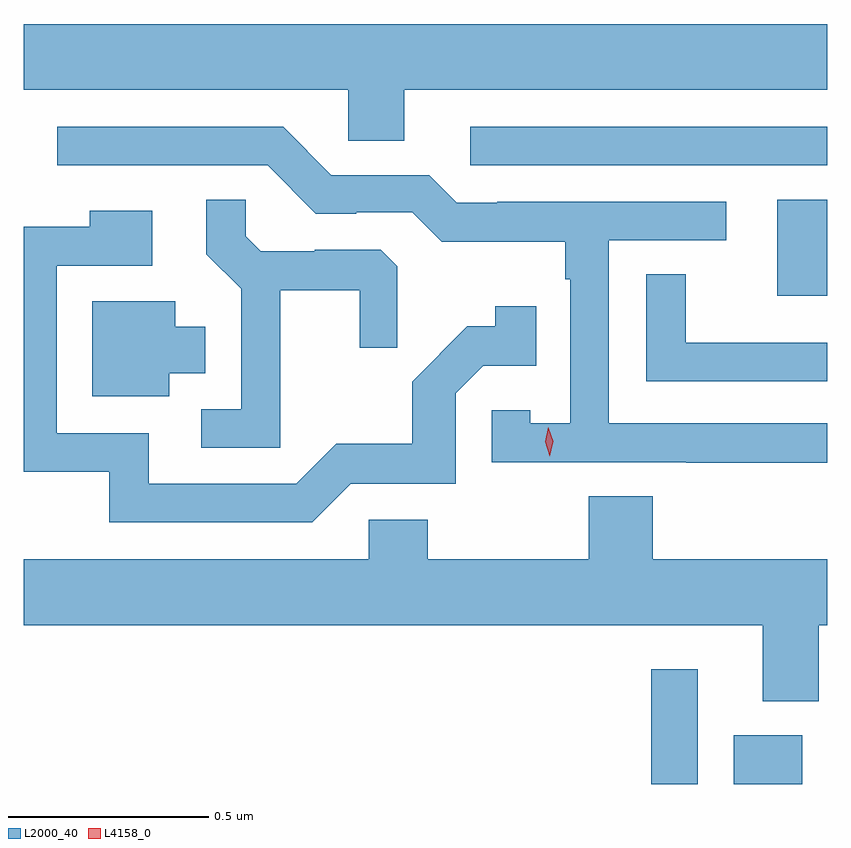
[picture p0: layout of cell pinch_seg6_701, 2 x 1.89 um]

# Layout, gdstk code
import gdstk
lib = gdstk.Library(unit=1e-6, precision=1e-09)
def R(c, l, rs):  # rectangles x0, y0, x1, y1
    for r in rs: c.add(gdstk.rectangle(r[:2], r[2:], *l))
def P(c, l, *ps):  # polygons
    for p in ps: c.add(gdstk.Polygon(p, *l))
L2000_40 = (2000, 40)
L4158_0 = (4158, 0)

pinch_seg6_701 = lib.new_cell('pinch_seg6_701')
R(pinch_seg6_701, L2000_40, [(491.05,946.941,491.166,947.227), (491.255,946.941,491.425,947.062), (491.363,948.156,491.488,948.395), (490.599,948.48,491.488,948.576)])
P(pinch_seg6_701, L2000_40, [(490.435,948.668),(491.488,948.668),(491.488,948.832),(489.488,948.832),(489.488,948.668),(490.296,948.668),(490.296,948.541),(490.435,948.541)],
  [(491.488,947.838),(490.944,947.838),(490.944,948.294),(491.236,948.294),(491.236,948.39),(490.666,948.39),(490.666,948.387),(490.566,948.387),(490.497,948.456),(490.254,948.456),(490.134,948.576),(489.572,948.576),(489.572,948.48),(490.095,948.48),(490.215,948.36),(490.316,948.36),(490.316,948.363),(490.455,948.363),(490.528,948.29),(490.836,948.29),(490.836,948.197),(490.848,948.197),(490.848,947.839),(490.749,947.839),(490.749,947.871),(490.653,947.871),(490.653,947.742),(491.137,947.742),(491.137,947.74),(491.488,947.74)],
  [(490.127,948.17),(490.324,948.17),(490.324,948.027),(490.418,948.027),(490.418,948.229),(490.377,948.27),(490.212,948.27),(490.212,948.267),(490.078,948.267),(490.041,948.304),(490.041,948.395),(489.943,948.395),(489.943,948.259),(490.029,948.173),(490.029,947.874),(489.93,947.874),(489.93,947.778),(490.127,947.778)],
  [(490.302,947.688),(490.563,947.688),(490.563,947.913),(490.632,947.982),(490.763,947.982),(490.763,948.13),(490.662,948.13),(490.662,948.08),(490.592,948.08),(490.455,947.942),(490.455,947.787),(490.266,947.787),(490.167,947.688),(489.799,947.688),(489.799,947.814),(489.57,947.814),(489.57,948.231),(489.808,948.231),(489.808,948.367),(489.652,948.367),(489.652,948.327),(489.488,948.327),(489.488,947.718),(489.701,947.718),(489.701,947.592),(490.206,947.592)],
  [(491.488,948.039),(491.136,948.039),(491.136,948.209),(491.037,948.209),(491.037,947.943),(491.488,947.943)],
  [(489.85,947.963),(489.94,947.963),(489.94,948.079),(489.865,948.079),(489.865,948.142),(489.659,948.142),(489.659,947.906),(489.85,947.906)],
  [(491.467,947.336),(491.488,947.336),(491.488,947.5),(491.054,947.5),(491.054,947.657),(490.894,947.657),(490.894,947.5),(490.494,947.5),(490.494,947.598),(490.347,947.598),(490.347,947.5),(489.488,947.5),(489.488,947.336),(491.327,947.336),(491.327,947.147),(491.467,947.147)])
P(pinch_seg6_701, L4158_0, [(490.797,947.757),(490.797,947.757),(490.786,947.793),(490.794,947.829),(490.794,947.829),(490.794,947.829),(490.806,947.794),(490.797,947.757)])

lib.write_gds('pinch_seg6_701.gds')
